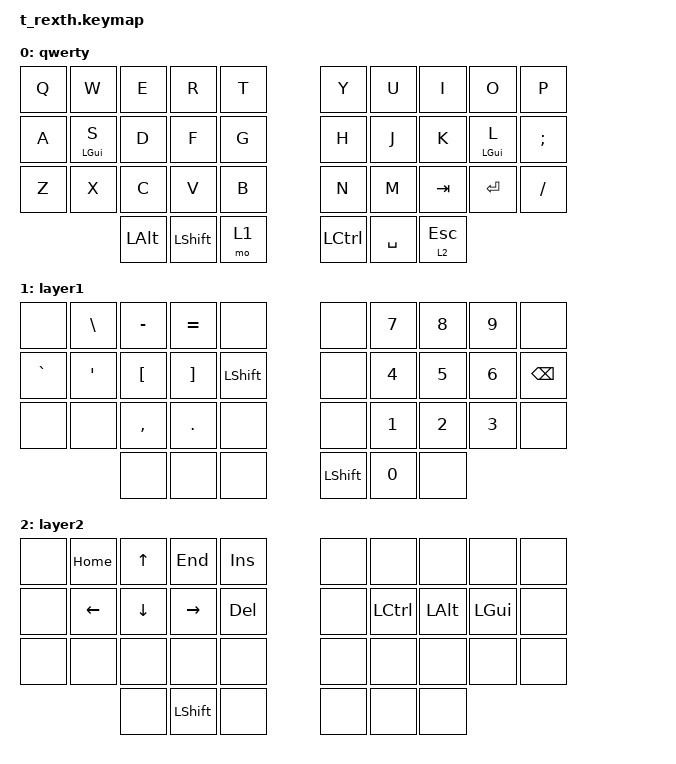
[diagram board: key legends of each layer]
#include <behaviors.dtsi>
#include <dt-bindings/zmk/keys.h>

&lt {
  tapping-term-ms = <250>;
  quick-tap-ms = <200>;
  flavor = "balanced";
};

&mt {
  tapping-term-ms = <250>;
  quick-tap-ms = <200>;
  flavor = "tap-preferred";
};

/ {
  keymap {
    compatible = "zmk,keymap";

    qwerty {
    bindings = <
      &kp Q     &kp W         &kp E         &kp R           &kp T               &kp Y      &kp U           &kp I          &kp O           &kp P
      &kp A     &mt LGUI S    &kp D         &kp F           &kp G               &kp H      &kp J           &kp K          &mt LGUI L      &kp SEMI
      &kp Z     &kp X         &kp C         &kp V           &kp B               &kp N      &kp M           &kp TAB        &kp ENTER       &kp SLASH
                              &kp LALT      &kp LSHIFT      &mo 1               &kp LCTRL  &kp SPACE       &lt 2 ESC
    >;
    };

    layer1 {
    bindings = <
      &none     &kp BACKSLASH &kp MINUS     &kp EQUAL       &none               &none      &kp N7          &kp N8         &kp N9          &none
      &kp GRAVE &kp APOS      &kp LBKT      &kp RBKT        &kp LSHIFT          &none      &kp N4          &kp N5         &kp N6          &kp BSPC
      &none     &none         &kp COMMA     &kp DOT         &none               &none      &kp N1          &kp N2         &kp N3          &none
                              &none         &none           &none               &kp LSHIFT &kp N0          &none
    >;
    };

    layer2 {
    bindings = <
      &none     &kp HOME      &kp UP        &kp END         &kp INS             &none      &none           &none          &none           &none
      &none     &kp LEFT      &kp DOWN      &kp RIGHT       &kp DEL             &none      &kp LCTRL       &kp LALT       &kp LGUI        &none
      &none     &none         &none         &none           &none               &none      &none           &none          &none           &none
                              &none         &kp LSHIFT      &none               &none      &none           &none
    >;
    };
  };
};
